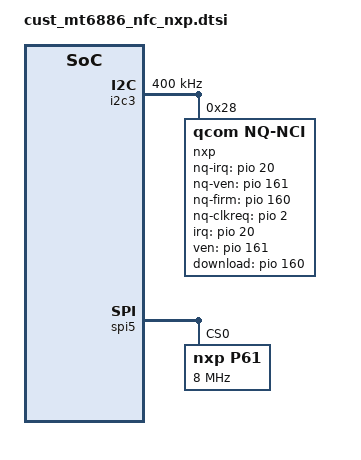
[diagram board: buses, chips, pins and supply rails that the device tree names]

//NFCC for Mediateckstart
&i2c3 {
    status = "okay";

//add TMS NFC
    //clock-frequency = <1000000>;
    clock-frequency = <400000>;
    #address-cells = <1>;
    #size-cells = <0>;
    nxp@28 {
        compatible = "qcom,nq-nci";
        reg = <0x28>;
        qcom,nq-irq         = <&pio 20 0x00>;
        interrupt-parent    = <&pio>;
        interrupts          = <20 IRQ_TYPE_LEVEL_HIGH 20 0>;
        qcom,nq-ven         = <&pio 161 0x0>;
        qcom,nq-firm        = <&pio 160 0x0>;
        qcom,nq-clkreq      = <&pio 2 0x0>;
        
        tms,irq-gpio        = <&pio 20 0x00>;
        tms,ven-gpio        = <&pio 161 0x0>;
        tms,download-gpio   = <&pio 160 0x0>;
  
        interrupt-names = "nfc_irq";
        pinctrl-names   = "default", "nfc_active", "nfc_suspend";

        pinctrl-0 = <&nfc_default>;
        pinctrl-1 = <&nfc_int_active &nfc_enable_active
                    &nfc_clk_req_active &nfc_firmwaredownload_active>;
        pinctrl-2 = <&nfc_int_suspend &nfc_enable_suspend
                    &nfc_clk_req_suspend &nfc_firmwaredownload_suspend>;
    };

};

&clock_buffer_ctrl {
    mediatek,xo-bbck4 = <1>;
};

&pio {
    nfc_default: nfc_default {
    };
    nfc_int_active: nfc_int_active {
        pins_cmd_dat {
            pinmux = <PINMUX_GPIO20__FUNC_GPIO20>;
            slew-rate = <0>;
            drive-strength = <MTK_DRIVE_2mA>;
            bias-pull-up;
        };
    };
    nfc_int_suspend: nfc_int_suspend {
        pins_cmd_dat {
            pinmux = <PINMUX_GPIO20__FUNC_GPIO20>;
            slew-rate = <0>;
            drive-strength = <MTK_DRIVE_2mA>;
            bias-pull-up;
        };
    };

    nfc_enable_active: nfc_enable_active {
        pins_cmd_dat {
            pinmux = <PINMUX_GPIO161__FUNC_GPIO161>;
            slew-rate = <1>;
            output-high;
            drive-strength = <MTK_DRIVE_2mA>;
            bias-pull-up=<MTK_PUPD_SET_R1R0_11>;
        };
    };
    nfc_enable_suspend: nfc_enable_suspend {
        pins_cmd_dat {
            pinmux = <PINMUX_GPIO161__FUNC_GPIO161>;
            slew-rate = <1>;
            drive-strength = <MTK_DRIVE_2mA>;
            bias-disable;
        };
    };

    nfc_firmwaredownload_active: nfc_firmwaredownload_active {
        pins_cmd_dat {
            pinmux = <PINMUX_GPIO160__FUNC_GPIO160>;
            slew-rate = <1>;
            drive-strength = <MTK_DRIVE_2mA>;
            bias-pull-up;
        };
    };
    nfc_firmwaredownload_suspend: nfc_firmwaredownload_suspend {
        pins_cmd_dat {
            pinmux = <PINMUX_GPIO160__FUNC_GPIO160>;
            slew-rate = <1>;
            drive-strength = <MTK_DRIVE_2mA>;
            bias-disable;
        };
    };

    nfc_clk_req_active: nfc_clk_req_active {
        pins_cmd_dat {
            pinmux = <PINMUX_GPIO2__FUNC_SRCLKENAI0>;
            slew-rate = <0>;
            input-enable;
            drive-strength = <MTK_DRIVE_2mA>;
            bias-pull-up;
        };
    };
    nfc_clk_req_suspend: nfc_clk_req_suspend {
        pins_cmd_dat {
            pinmux = <PINMUX_GPIO2__FUNC_SRCLKENAI0>;
            slew-rate = <0>;
            input-enable;
            drive-strength = <MTK_DRIVE_2mA>;
            bias-pull-down;
        };
    };
};
//NFCC end

/* eSE SPI configuration */
&spi5 {
    #address-cells = <1>;
    #size-cells = <0>;

    p61@31 {
        compatible = "nxp,p61";
        reg = <0>;
        nxp,nfcc = "3-0028";
        spi-max-frequency = <8000000>;
        status = "okay";
        pinctrl-names = "nxp_ese_spi_mode";
        pinctrl-0 = <&nxp_ese_spi_mode>;
    };
};

&pio {
    nxp_ese_spi_mode: nxp_ese_spi_mode {
        pins_cmd_dat {
            pinmux = <PINMUX_GPIO117__FUNC_SPI5_MI>,
                    <PINMUX_GPIO116__FUNC_SPI5_MO>,
                    <PINMUX_GPIO114__FUNC_SPI5_CLK>,
                    <PINMUX_GPIO115__FUNC_SPI5_CSB>;
            drive-strength = <6>;
        };
    };
};
/* eSE SPI configuration -- end */
